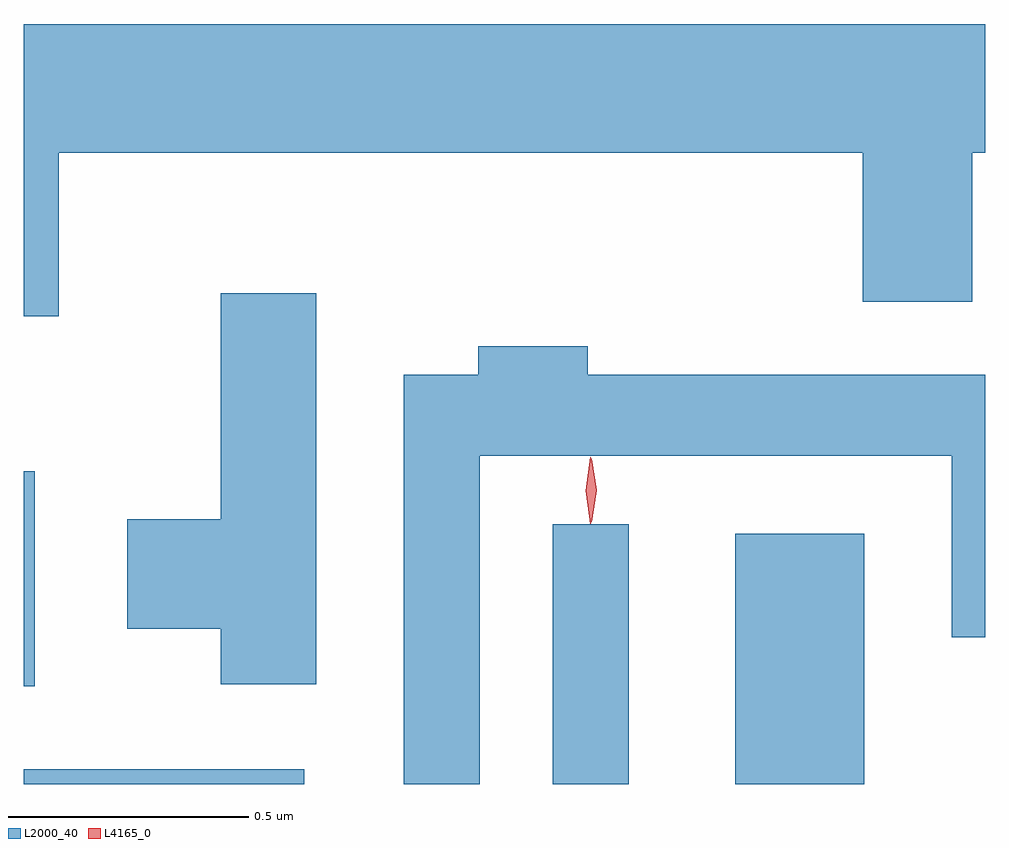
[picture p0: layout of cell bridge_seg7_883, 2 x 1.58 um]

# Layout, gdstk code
import gdstk
lib = gdstk.Library(unit=1e-6, precision=1e-09)
def R(c, l, rs):  # rectangles x0, y0, x1, y1
    for r in rs: c.add(gdstk.rectangle(r[:2], r[2:], *l))
def P(c, l, *ps):  # polygons
    for p in ps: c.add(gdstk.Polygon(p, *l))
L2000_40 = (2000, 40)
L4165_0 = (4165, 0)

bridge_seg7_883 = lib.new_cell('bridge_seg7_883')
R(bridge_seg7_883, L2000_40, [(316.266,1684.143,316.849,1684.174), (317.366,1684.143,317.524,1684.683), (317.746,1684.143,318.014,1684.664), (316.266,1684.346,316.289,1684.794)])
P(bridge_seg7_883, L2000_40, [(316.339,1685.456),(318.011,1685.456),(318.011,1685.146),(318.239,1685.146),(318.239,1685.456),(318.266,1685.456),(318.266,1685.724),(316.266,1685.724),(316.266,1685.116),(316.339,1685.116)],
  [(316.874,1685.164),(316.676,1685.164),(316.676,1684.694),(316.481,1684.694),(316.481,1684.466),(316.676,1684.466),(316.676,1684.351),(316.874,1684.351)],
  [(317.214,1684.826),(318.196,1684.826),(318.196,1684.448),(318.266,1684.448),(318.266,1684.994),(317.439,1684.994),(317.439,1685.054),(317.211,1685.054),(317.211,1684.994),(317.056,1684.994),(317.056,1684.143),(317.214,1684.143)])
P(bridge_seg7_883, L4165_0, [(317.444,1684.684),(317.435,1684.753),(317.444,1684.823),(317.445,1684.823),(317.445,1684.823),(317.455,1684.753),(317.445,1684.684),(317.445,1684.684)],
  [(317.447,1684.687),(317.438,1684.754),(317.447,1684.82),(317.448,1684.821),(317.448,1684.82),(317.458,1684.754),(317.448,1684.687),(317.448,1684.687)])

lib.write_gds('bridge_seg7_883.gds')
